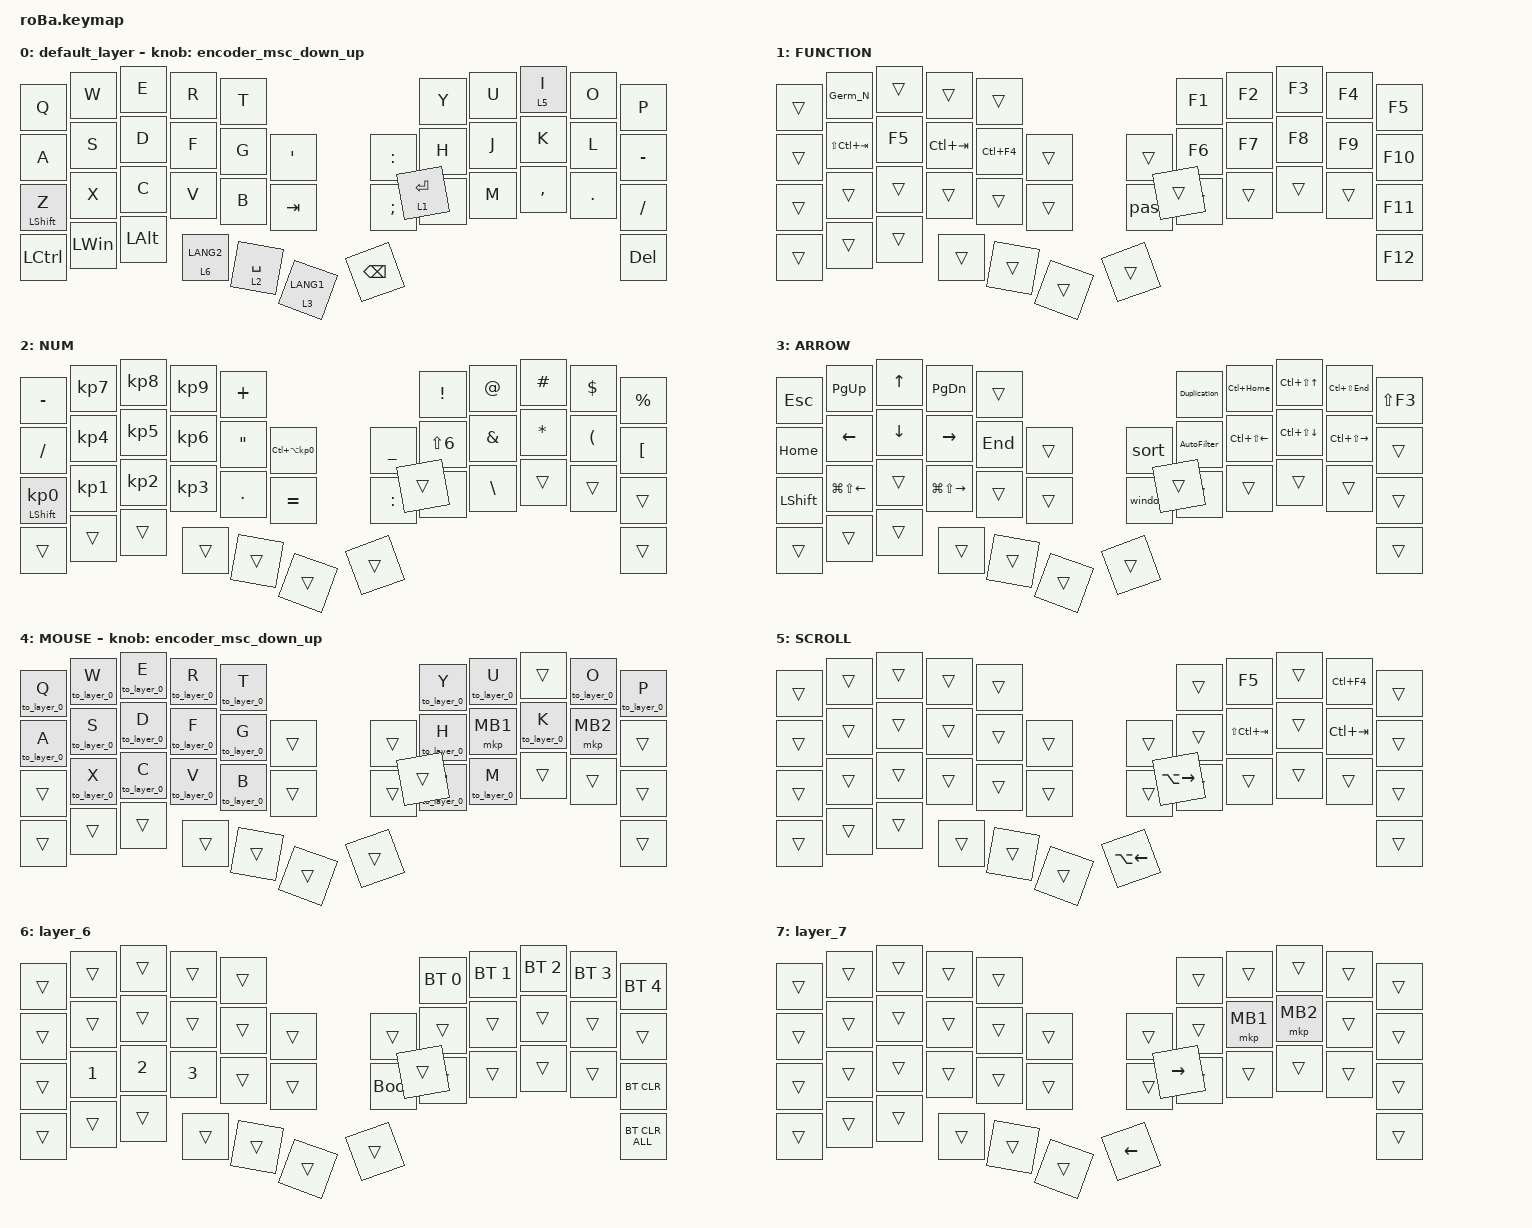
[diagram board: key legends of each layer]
#include <behaviors.dtsi>
#include <dt-bindings/zmk/bt.h>
#include <dt-bindings/zmk/keys.h>
#include <dt-bindings/zmk/pointing.h>

#define ZMK_POINTING_DEFAULT_SCRL_VAL 80
#define MOUSE 4
#define SCROLL 5
#define NUM 6
#define U_MOUSE_MOVE_MAX 1400  // デフォルトは600

#undef MOVE_UP
#undef MOVE_DOWN
#undef MOVE_LEFT
#undef MOVE_RIGHT

/* 上下だけ反転（Y反転） */

#define MOVE_UP    MOVE_VERT( U_MOUSE_MOVE_MAX)
#define MOVE_DOWN  MOVE_VERT(-U_MOUSE_MOVE_MAX)

/* 左右はそのまま（すでにOK） */

#define MOVE_LEFT  MOVE_HOR(-U_MOUSE_MOVE_MAX)
#define MOVE_RIGHT MOVE_HOR( U_MOUSE_MOVE_MAX)

&mt {
    flavor = "balanced";
    quick-tap-ms = <0>;
};

// arrows {
//     layers = <3>;
//     bindings =
//         <&kp RIGHT_ARROW>,
//         <&kp LEFT_ARROW>,
//         <&kp UP_ARROW>,
//         <&kp DOWN_ARROW>;
//     tick = <10>;
//     wait-ms = <5>;
//     tap-ms = <5>;
// };

/ {
    combos {
        compatible = "zmk,combos";

        cont_v {
            bindings = <&kp LC(V)>;
            key-positions = <11 12>;
        };

        cont_c {
            bindings = <&kp LC(C)>;
            key-positions = <12 13>;
        };

        muhennkann {
            bindings = <&caps_num>;
            key-positions = <11 10>;
        };

        double_quotation {
            bindings = <&kp DOUBLE_QUOTES>;
            key-positions = <20 21>;
        };

        eq {
            bindings = <&kp EQUAL>;
            key-positions = <24 25>;
        };

        alt_win {
            bindings = <&kp LA(LEFT_WIN)>;
            key-positions = <4 3>;
        };

        close {
            bindings = <&kp LA(F4)>;
            key-positions = <9 8>;
        };

        printscreen {
            bindings = <&kp PRINTSCREEN>;
            key-positions = <5 6>;
        };

        esc {
            bindings = <&kp ESCAPE>;
            key-positions = <0 1>;
        };

        contalt_v {
            bindings = <&paste_txit>;
            key-positions = <11 12 13>;
        };
    };

    macros {
        to_layer_0: to_layer_0 {
            compatible = "zmk,behavior-macro-one-param";
            #binding-cells = <1>;
            bindings = <&to 0 &macro_param_1to1 &kp MACRO_PLACEHOLDER>;
            label = "TO_LAYER_0";
        };

        mkp_exit_AML: mkp_exit_AML {
            compatible = "zmk,behavior-macro-one-param";
            #binding-cells = <1>;
            bindings =
                <&macro_press>,
                <&macro_param_1to1 &mkp MACRO_PLACEHOLDER>,
                <&macro_pause_for_release>,
                <&macro_release>,
                <&macro_param_1to1 &mkp MACRO_PLACEHOLDER>,
                <&macro_tap>,
                <&sl 4>;

            label = "MKP_EXIT_AML";
        };

        pass: new_macro {
            compatible = "zmk,behavior-macro";
            #binding-cells = <0>;
            bindings =
                <&kp LANGUAGE_2>,
                <&macro_wait_time 50>,
                <&kp NUMBER_1 &kp N6 &kp N4 &kp KP_NUMBER_1 &kp KP_NUMBER_6 &kp KP_NUMBER_4 &kp KP_NUMBER_1 &kp KP_NUMBER_6 &kp KP_NUMBER_4 &kp U &kp LS(T) &kp LS(Y) &kp LS(U) &kp LEFT_BRACKET &kp LEFT_BRACKET>,
                <&macro_wait_time 255>,
                <&kp ENTER>;

            label = "NEW_MACRO";
        };

        Germ_N: Germ_N {
            compatible = "zmk,behavior-macro";
            #binding-cells = <0>;
            bindings = <&kp N &kp RIGHT &kp DOWN &kp LEFT_ARROW>;
            label = "GERM_N";
        };

        paste_txit: paste_txit {
            compatible = "zmk,behavior-macro";
            #binding-cells = <0>;
            bindings =
                <&kp LC(LA(V)) &kp V>,
                <&macro_wait_time 255>,
                <&kp ENTER>;

            label = "PASTE_TXIT";
        };

        Duplication: Duplication {
            compatible = "zmk,behavior-macro";
            #binding-cells = <0>;
            bindings = <&kp LEFT_ALT &kp A &kp M &kp C &kp ENTER>;
            label = "DUPLICATION";
        };

        sort: sort {
            compatible = "zmk,behavior-macro";
            #binding-cells = <0>;
            bindings = <&kp LEFT_ALT &kp H &kp S &kp U>;
            label = "SORT";
        };

        window: window {
            compatible = "zmk,behavior-macro";
            #binding-cells = <0>;
            bindings = <&kp LEFT_ALT &kp W &kp F &kp F>;
            label = "WINDOW";
        };

        caps_num: caps_num {
            compatible = "zmk,behavior-macro";
            #binding-cells = <0>;
            bindings = <&kp LS(CAPS) &kp KP_NUMLOCK>;
            label = "CAPS_NUM";
        };

        AutoFilter: AutoFilter {
            compatible = "zmk,behavior-macro";
            #binding-cells = <0>;
            bindings = <&kp LC(LS(END)) &kp LS(LC(L)) &kp LEFT>;
            label = "AUTOFILTER";
        };
    };

    behaviors {
        encoder_msc_down_up: encoder_msc_down_up {
            compatible = "zmk,behavior-sensor-rotate";
            label = "ENCODER_MSC_DOWN_UP";
            #sensor-binding-cells = <0>;
            bindings = <&msc SCRL_DOWN>, <&msc SCRL_UP>;

            tap-ms = <20>;
        };

        loop: loop {
            compatible = "zmk,behavior-key-toggle";
            label = "LOOP";
            #binding-cells = <1>;
        };

        multi_tap_tab_bspc: behavior_multi_tap {
            label = "MT_TAB_BSPC";
            #binding-cells = <0>;
            bindings = <&kp TAB>, <&kp BSPC>;

            max-taps = <2>;
            max-tap-interrupt-ms = <250>;
        };
    };

    keymap {
        compatible = "zmk,keymap";

        default_layer {
            bindings = <
&kp Q             &kp W         &kp E         &kp R        &kp T                                             &kp Y        &kp U  &lt 5 I    &kp O    &kp P
&kp A             &kp S         &kp D         &kp F        &kp G        &kp SINGLE_QUOTE      &kp COLON      &kp H        &kp J  &kp K      &kp L    &kp MINUS
&mt LEFT_SHIFT Z  &kp X         &kp C         &kp V        &kp B        &kp TAB               &kp SEMICOLON  &kp N        &kp M  &kp COMMA  &kp DOT  &kp SLASH
&kp LCTRL         &kp LEFT_WIN  &kp LEFT_ALT  &lt 6 LANG2  &lt 2 SPACE  &lt 3 LANG1           &kp BACKSPACE  &lt 1 ENTER                             &kp DEL
            >;

            sensor-bindings = <&encoder_msc_down_up>;
        };

        FUNCTION {
            bindings = <
&trans  &Germ_N          &trans  &trans       &trans                          &kp F1  &kp F2  &kp F3  &kp F4  &kp F5
&trans  &kp LS(LC(TAB))  &kp F5  &kp LC(TAB)  &kp LC(F4)  &trans      &trans  &kp F6  &kp F7  &kp F8  &kp F9  &kp F10
&trans  &trans           &trans  &trans       &trans      &trans      &pass   &trans  &trans  &trans  &trans  &kp F11
&trans  &trans           &trans  &trans       &trans      &trans      &trans  &trans                          &kp F12
            >;
        };

        NUM {
            bindings = <
&kp MINUS                   &kp KP_NUMBER_7  &kp KP_NUMBER_8  &kp KP_NUMBER_9  &kp PLUS                                                        &kp EXCLAMATION    &kp AT_SIGN    &kp HASH      &kp DOLLAR            &kp PERCENT
&kp SLASH                   &kp KP_NUMBER_4  &kp KP_NUMBER_5  &kp KP_NUMBER_6  &kp DOUBLE_QUOTES  &kp LC(LA(KP_NUMBER_0))      &kp UNDERSCORE  &kp LS(NUMBER_6)   &kp AMPERSAND  &kp ASTERISK  &kp LEFT_PARENTHESIS  &kp LEFT_BRACKET
&mt LEFT_SHIFT KP_NUMBER_0  &kp KP_NUMBER_1  &kp KP_NUMBER_2  &kp KP_NUMBER_3  &kp PERIOD         &kp EQUAL                    &kp COLON       &kp RIGHT_BRACKET  &kp BACKSLASH  &trans        &trans                &trans
&trans                      &trans           &trans           &trans           &trans             &trans                       &trans          &trans                                                                &trans
            >;
        };

        ARROW {
            bindings = <
&kp ESCAPE      &kp PAGE_UP             &kp UP_ARROW    &kp PAGE_DOWN            &trans                        &Duplication  &kp LC(HOME)            &kp LC(LS(UP_ARROW))    &kp LC(LS(END))          &kp LS(F3)
&kp HOME        &kp LEFT_ARROW          &kp DOWN_ARROW  &kp RIGHT_ARROW          &kp END  &trans      &sort    &AutoFilter   &kp LC(LS(LEFT_ARROW))  &kp LC(LS(DOWN_ARROW))  &kp LC(LS(RIGHT_ARROW))  &trans
&kp LEFT_SHIFT  &kp LG(LS(LEFT_ARROW))  &trans          &kp LG(LS(RIGHT_ARROW))  &trans   &trans      &window  &trans        &trans                  &trans                  &trans                   &trans
&trans          &trans                  &trans          &trans                   &trans   &trans      &trans   &trans                                                                                 &trans
            >;
        };

        MOUSE {
            bindings = <
&to_layer_0 Q  &to_layer_0 W  &to_layer_0 E  &to_layer_0 R  &to_layer_0 T                      &to_layer_0 Y  &to_layer_0 U  &trans         &to_layer_0 O  &to_layer_0 P
&to_layer_0 A  &to_layer_0 S  &to_layer_0 D  &to_layer_0 F  &to_layer_0 G  &trans      &trans  &to_layer_0 H  &mkp MB1       &to_layer_0 K  &mkp MB2       &trans
&trans         &to_layer_0 X  &to_layer_0 C  &to_layer_0 V  &to_layer_0 B  &trans      &trans  &to_layer_0 N  &to_layer_0 M  &trans         &trans         &trans
&trans         &trans         &trans         &trans         &trans         &trans      &trans  &trans                                                      &trans
            >;

            sensor-bindings = <&encoder_msc_down_up>;
        };

        SCROLL {
            bindings = <
&trans  &trans  &trans  &trans  &trans                                  &trans               &kp F5           &trans  &kp LC(F4)   &trans
&trans  &trans  &trans  &trans  &trans  &trans      &trans              &trans               &kp LS(LC(TAB))  &trans  &kp LC(TAB)  &trans
&trans  &trans  &trans  &trans  &trans  &trans      &trans              &trans               &trans           &trans  &trans       &trans
&trans  &trans  &trans  &trans  &trans  &trans      &kp LA(LEFT_ARROW)  &kp LA(RIGHT_ARROW)                                        &trans
            >;
        };

        layer_6 {
            bindings = <
&trans  &trans        &trans        &trans        &trans                           &bt BT_SEL 0  &bt BT_SEL 1  &bt BT_SEL 2  &bt BT_SEL 3  &bt BT_SEL 4
&trans  &trans        &trans        &trans        &trans  &trans      &trans       &trans        &trans        &trans        &trans        &trans
&trans  &kp NUMBER_1  &kp NUMBER_2  &kp NUMBER_3  &trans  &trans      &bootloader  &trans        &trans        &trans        &trans        &bt BT_CLR
&trans  &trans        &trans        &trans        &trans  &trans      &trans       &trans                                                  &bt BT_CLR_ALL
            >;
        };

        layer_7 {
            bindings = <
&trans  &trans  &trans  &trans  &trans                        &trans     &trans    &trans    &trans  &trans
&trans  &trans  &trans  &trans  &trans  &trans      &trans    &trans     &mkp MB1  &mkp MB2  &trans  &trans
&trans  &trans  &trans  &trans  &trans  &trans      &trans    &trans     &trans    &trans    &trans  &trans
&trans  &trans  &trans  &trans  &trans  &trans      &kp LEFT  &kp RIGHT                              &trans
            >;
        };
    };
};
